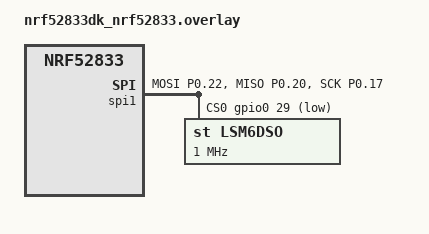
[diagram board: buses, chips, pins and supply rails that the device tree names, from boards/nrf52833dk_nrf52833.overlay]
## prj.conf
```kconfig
CONFIG_LOG=y
CONFIG_LOG_BACKEND_UART=y

CONFIG_STDOUT_CONSOLE=y
# CONFIG_I2C=y
CONFIG_SPI=y
CONFIG_SENSOR=y
CONFIG_LSM6DSO=y
CONFIG_LSM6DSO_TRIGGER_GLOBAL_THREAD=y
CONFIG_CBPRINTF_FP_SUPPORT=y
```

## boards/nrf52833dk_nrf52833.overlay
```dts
&pinctrl {
	i2c0_default: i2c0_default {
		group1 {
			psels = <NRF_PSEL(TWIM_SDA, 0, 12)>,
					<NRF_PSEL(TWIM_SCL, 1, 9)>;
			// bias-pull-up;
		};
	};

	spi1_default: spi1_default {
		group1 {
			psels = <NRF_PSEL(SPIM_MOSI, 0, 22)>,
					<NRF_PSEL(SPIM_MISO, 0, 20)>,
					<NRF_PSEL(SPIM_SCK, 0, 17)>;
		};
	};
};

// &i2c0 {
// 	compatible = "nordic,nrf-twi";
// 	status = "okay";
//     pinctrl-0 = <&i2c0_default>;
// 	pinctrl-names = "default", "sleep";
// 	lsm6dso@6b {
// 		compatible = "st,lsm6dso";
// 		reg = <0x6b>;
// 		label = "LSM6DSO";
// 	};
// };

&spi1 {
	status = "okay";
	pinctrl-0 = <&spi1_default>;
	pinctrl-names = "default", "sleep";
	cs-gpios = <&gpio0 29 GPIO_ACTIVE_LOW>;
	// max-frequency = <1000000>;
	lsm6dso@0 {
		compatible = "st,lsm6dso";
		reg = <0>;
		label = "lsm6dso";
		spi-max-frequency = <1000000>;
	};
};
```

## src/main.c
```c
/*
 * Copyright (c) 2020 Yestin Sun
 *
 * SPDX-License-Identifier: Apache-2.0
 */

#include <stdio.h>
#include <zephyr/zephyr.h>
#include <zephyr/device.h>
#include <zephyr/drivers/sensor.h>
// #include <zephyr/drivers/i2c.h>

#define LSM6DSO DT_COMPAT_GET_ANY_STATUS_OKAY(st_lsm6dso)

#if DT_NODE_HAS_STATUS(LSM6DSO, okay)
#define LSM6DSO_LABEL DT_LABEL(LSM6DSO)
#else
#error Your devicetree has no enabled nodes with compatible "st,lsm6dso"
#define LSM6DSO_LABEL "<none>"
#endif

static inline float out_ev(struct sensor_value *val)
{
	return (val->val1 + (float)val->val2 / 1000000);
}

static void fetch_and_display(const struct device *dev)
{
	struct sensor_value x, y, z;
	static int trig_cnt;

	trig_cnt++;

	/* lsm6dso accel */
	sensor_sample_fetch_chan(dev, SENSOR_CHAN_ACCEL_XYZ);
	sensor_channel_get(dev, SENSOR_CHAN_ACCEL_X, &x);
	sensor_channel_get(dev, SENSOR_CHAN_ACCEL_Y, &y);
	sensor_channel_get(dev, SENSOR_CHAN_ACCEL_Z, &z);

	printf("accel x:%f ms/2 y:%f ms/2 z:%f ms/2\n",
			out_ev(&x), out_ev(&y), out_ev(&z));

	/* lsm6dso gyro */
	sensor_sample_fetch_chan(dev, SENSOR_CHAN_GYRO_XYZ);
	sensor_channel_get(dev, SENSOR_CHAN_GYRO_X, &x);
	sensor_channel_get(dev, SENSOR_CHAN_GYRO_Y, &y);
	sensor_channel_get(dev, SENSOR_CHAN_GYRO_Z, &z);

	printf("gyro x:%f dps y:%f dps z:%f dps\n",
			out_ev(&x), out_ev(&y), out_ev(&z));

	printf("trig_cnt:%d\n\n", trig_cnt);
}

static int set_sampling_freq(const struct device *dev)
{
	int ret = 0;
	struct sensor_value odr_attr;

	/* set accel/gyro sampling frequency to 12.5 Hz */
	odr_attr.val1 = 12.5;
	odr_attr.val2 = 0;

	ret = sensor_attr_set(dev, SENSOR_CHAN_ACCEL_XYZ,
			SENSOR_ATTR_SAMPLING_FREQUENCY, &odr_attr);
	if (ret != 0) {
		printf("Cannot set sampling frequency for accelerometer.\n");
		return ret;
	}

	ret = sensor_attr_set(dev, SENSOR_CHAN_GYRO_XYZ,
			SENSOR_ATTR_SAMPLING_FREQUENCY, &odr_attr);
	if (ret != 0) {
		printf("Cannot set sampling frequency for gyro.\n");
		return ret;
	}

	return 0;
}

#ifdef CONFIG_LSM6DSO_TRIGGER
static void trigger_handler(const struct device *dev,
			    const struct sensor_trigger *trig)
{
	fetch_and_display(dev);
}

static void test_trigger_mode(const struct device *dev)
{
	struct sensor_trigger trig;

	if (set_sampling_freq(dev) != 0)
		return;

	trig.type = SENSOR_TRIG_DATA_READY;
	trig.chan = SENSOR_CHAN_ACCEL_XYZ;

	if (sensor_trigger_set(dev, &trig, trigger_handler) != 0) {
		printf("Could not set sensor type and channel\n");
		return;
	}
}

#else
static void test_polling_mode(const struct device *dev)
{
	if (set_sampling_freq(dev) != 0)
		return;

	while (1) {
		fetch_and_display(dev);
		k_sleep(K_MSEC(1000));
	}
}
#endif

void main(void)
{
	const struct device *dev = device_get_binding(LSM6DSO_LABEL);
	// const struct device *i2c_dev = DEVICE_DT_GET(DT_NODELABEL(i2c0));

	// if (!device_is_ready(i2c_dev)) {
	// 	printf("i2c not ready\n");
	// 	return;
	// }

	uint8_t cmd = 0;
	int ret;
	// k_msleep(10000);

	// printf("Attempting to read who am i");

	// k_msleep(5000);

	// for (uint8_t i = 0; i < 0x7f; ++i) {
	// 	ret = i2c_reg_read_byte(i2c_dev, i, 0x0f, &cmd);
	// 	if (ret == 0) {
	// 		printf("ID: %x\tADDR: %x\n", cmd, i);
	// 		return;
	// 	}

	// 	if (cmd != 0) {
	// 		printf("ID: %x\n", cmd);
	// 		break;
	// 	}

	// 	k_msleep(10);

	// }

	

	if (dev == NULL) {
		printf("No device \"%s\" found.\n", LSM6DSO_LABEL);
		return;
	}

#ifdef CONFIG_LSM6DSO_TRIGGER
	printf("Testing LSM6DSO sensor in trigger mode.\n\n");
	test_trigger_mode(dev);
#else
	printf("Testing LSM6DSO sensor in polling mode.\n\n");
	test_polling_mode(dev);
#endif
}
```
